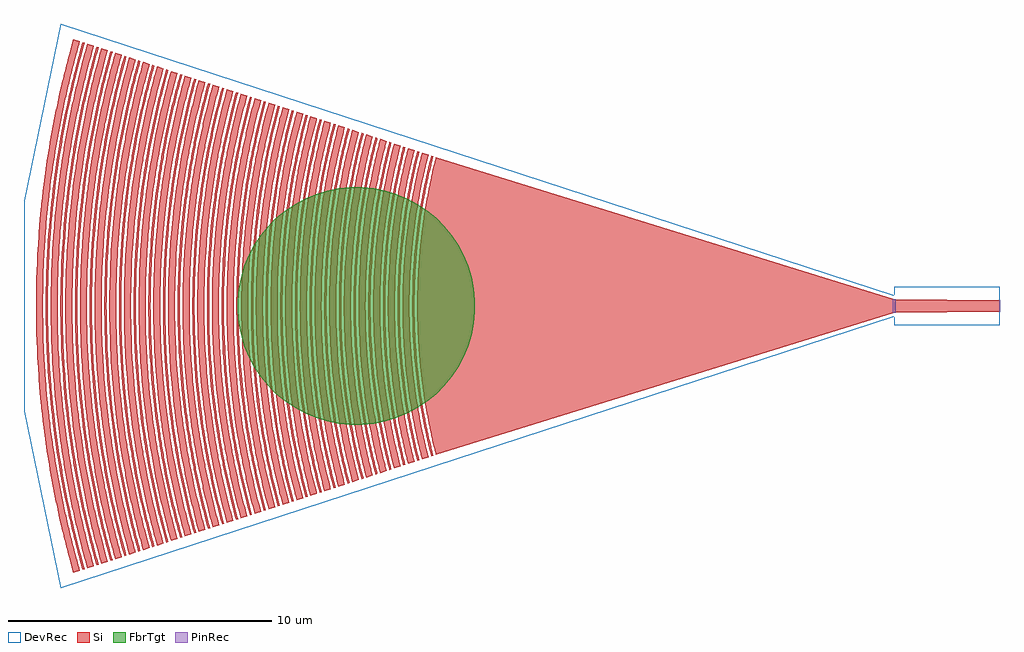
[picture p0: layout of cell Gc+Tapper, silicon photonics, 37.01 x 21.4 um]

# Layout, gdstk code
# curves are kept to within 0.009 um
import gdstk
lib = gdstk.Library(unit=1e-6, precision=1e-09)
def R(c, l, rs):  # rectangles x0, y0, x1, y1
    for r in rs: c.add(gdstk.rectangle(r[:2], r[2:], *l))
def P(c, l, *ps):  # polygons
    for p in ps: c.add(gdstk.Polygon(p, *l))
Si = (1, 0)
PinRec = (1, 10)
DevRec = (68, 0)
FbrTgt = (81, 0)

te1550_subgc_neg31_oxide = lib.new_cell('TE1550_SubGC_neg31_oxide')
P(te1550_subgc_neg31_oxide, Si, [(-17.556,-5.704),(-17.743,-4.914),(-17.881,-4.233),(-18.016,-3.437),(-18.095,-2.866),(-18.165,-2.237),(-18.222,-1.549),(-18.256,-0.918),(-18.274,-0.115),(-18.264,0.689),(-18.233,1.377),(-18.176,2.122),(-18.095,2.866),(-18.016,3.437),(-17.881,4.233),(-17.743,4.914),(-17.556,5.704),(-17.481,5.68),(-17.643,5.006),(-17.784,4.329),(-17.922,3.536),(-18.032,2.74),(-18.104,2.056),(-18.148,1.486),(-18.186,0.686),(-18.196,0.114),(-18.189,-0.572),(-18.165,-1.2),(-18.123,-1.828),(-18.058,-2.512),(-17.948,-3.365),(-17.826,-4.102),(-17.668,-4.893),(-17.481,-5.68)],
  [(-17.906,-5.818),(-18.047,-5.243),(-18.207,-4.492),(-18.342,-3.738),(-18.452,-2.982),(-18.537,-2.224),(-18.601,-1.405),(-18.643,-0.117),(-18.636,0.586),(-18.601,1.405),(-18.537,2.224),(-18.452,2.982),(-18.342,3.738),(-18.207,4.492),(-18.047,5.243),(-17.906,5.818),(-17.659,5.738),(-17.932,4.544),(-18.068,3.801),(-18.188,2.998),(-18.279,2.193),(-18.338,1.443),(-18.373,0.693),(-18.383,0.116),(-18.373,-0.693),(-18.338,-1.443),(-18.279,-2.193),(-18.188,-2.998),(-18.068,-3.801),(-17.932,-4.544),(-17.659,-5.738)],
  [(-18.084,-5.876),(-18.24,-5.237),(-18.4,-4.479),(-18.525,-3.776),(-18.629,-3.071),(-18.717,-2.305),(-18.772,-1.656),(-18.811,-0.946),(-18.83,-0.118),(-18.823,0.592),(-18.791,1.36),(-18.739,2.069),(-18.644,2.953),(-18.544,3.658),(-18.4,4.479),(-18.24,5.237),(-18.084,5.876),(-18.01,5.852),(-18.204,5.041),(-18.368,4.227),(-18.503,3.409),(-18.609,2.589),(-18.713,1.354),(-18.745,0.589),(-18.752,0.118),(-18.745,-0.589),(-18.713,-1.354),(-18.609,-2.589),(-18.503,-3.409),(-18.368,-4.227),(-18.204,-5.041),(-18.01,-5.852)],
  [(-18.435,-5.99),(-18.608,-5.279),(-18.77,-4.506),(-18.906,-3.73),(-19.001,-3.071),(-19.071,-2.47),(-19.135,-1.748),(-19.182,-0.905),(-19.199,-0.121),(-19.19,0.663),(-19.159,1.387),(-19.095,2.23),(-19.001,3.071),(-18.906,3.73),(-18.77,4.506),(-18.608,5.279),(-18.435,5.99),(-18.188,5.91),(-18.358,5.209),(-18.517,4.445),(-18.651,3.679),(-18.744,3.029),(-18.831,2.259),(-18.896,1.427),(-18.939,0.119),(-18.93,-0.654),(-18.896,-1.427),(-18.842,-2.14),(-18.759,-2.911),(-18.651,-3.679),(-18.517,-4.445),(-18.358,-5.209),(-18.188,-5.91)],
  [(-18.613,-6.048),(-18.815,-5.211),(-18.963,-4.49),(-19.099,-3.705),(-19.201,-2.979),(-19.269,-2.373),(-19.338,-1.522),(-19.369,-0.913),(-19.386,-0.122),(-19.377,0.67),(-19.349,1.339),(-19.286,2.191),(-19.201,2.979),(-19.099,3.705),(-18.963,4.49),(-18.815,5.211),(-18.613,6.048),(-18.539,6.024),(-18.713,5.309),(-18.876,4.532),(-19.013,3.751),(-19.131,2.907),(-19.203,2.242),(-19.264,1.455),(-19.291,0.91),(-19.308,0.121),(-19.299,-0.667),(-19.271,-1.334),(-19.239,-1.819),(-19.166,-2.605),(-19.076,-3.329),(-18.91,-4.352),(-18.753,-5.13),(-18.539,-6.024)],
  [(-18.964,-6.162),(-19.262,-4.881),(-19.411,-4.083),(-19.533,-3.283),(-19.629,-2.48),(-19.689,-1.799),(-19.735,-0.993),(-19.755,-0.124),(-19.749,0.559),(-19.717,1.365),(-19.653,2.232),(-19.573,2.974),(-19.461,3.776),(-19.334,4.513),(-19.143,5.431),(-18.964,6.162),(-18.717,6.081),(-18.879,5.421),(-19.046,4.636),(-19.206,3.726),(-19.301,3.057),(-19.43,1.775),(-19.48,0.857),(-19.495,0.122),(-19.486,-0.674),(-19.454,-1.408),(-19.389,-2.264),(-19.301,-3.057),(-19.206,-3.726),(-19.046,-4.636),(-18.879,-5.421),(-18.717,-6.081)],
  [(-19.142,-6.22),(-19.337,-5.421),(-19.48,-4.742),(-19.625,-3.936),(-19.726,-3.251),(-19.808,-2.566),(-19.884,-1.691),(-19.924,-0.94),(-19.942,-0.125),(-19.934,0.626),(-19.9,1.44),(-19.833,2.316),(-19.758,3.002),(-19.635,3.874),(-19.516,4.556),(-19.337,5.421),(-19.142,6.22),(-19.068,6.195),(-19.289,5.277),(-19.44,4.538),(-19.587,3.673),(-19.696,2.866),(-19.772,2.12),(-19.822,1.435),(-19.853,0.749),(-19.864,0.125),(-19.853,-0.749),(-19.822,-1.435),(-19.772,-2.12),(-19.696,-2.866),(-19.587,-3.673),(-19.44,-4.538),(-19.289,-5.277),(-19.068,-6.195)],
  [(-19.493,-6.334),(-19.678,-5.583),(-19.839,-4.829),(-19.997,-3.945),(-20.107,-3.185),(-20.187,-2.486),(-20.256,-1.658),(-20.293,-0.957),(-20.311,-0.128),(-20.303,0.638),(-20.268,1.467),(-20.211,2.231),(-20.107,3.185),(-19.997,3.945),(-19.839,4.829),(-19.678,5.583),(-19.493,6.334),(-19.246,6.253),(-19.399,5.636),(-19.574,4.829),(-19.742,3.895),(-19.842,3.207),(-19.929,2.454),(-19.997,1.637),(-20.033,0.945),(-20.051,0.126),(-20.043,-0.63),(-20.005,-1.511),(-19.947,-2.266),(-19.866,-3.019),(-19.742,-3.895),(-19.622,-4.581),(-19.483,-5.264),(-19.246,-6.253)],
  [(-19.671,-6.391),(-19.843,-5.697),(-20.008,-4.937),(-20.149,-4.173),(-20.283,-3.278),(-20.379,-2.444),(-20.438,-1.738),(-20.482,-0.901),(-20.498,-0.129),(-20.482,0.901),(-20.438,1.738),(-20.379,2.444),(-20.283,3.278),(-20.149,4.173),(-20.008,4.937),(-19.843,5.697),(-19.671,6.391),(-19.597,6.367),(-19.797,5.55),(-20.005,4.538),(-20.153,3.648),(-20.246,2.946),(-20.325,2.179),(-20.373,1.539),(-20.404,0.898),(-20.42,0.128),(-20.412,-0.641),(-20.384,-1.347),(-20.336,-2.051),(-20.261,-2.819),(-20.153,-3.648),(-20.017,-4.474),(-19.825,-5.424),(-19.597,-6.367)],
  [(-20.022,-6.505),(-20.242,-5.606),(-20.392,-4.896),(-20.532,-4.118),(-20.656,-3.272),(-20.745,-2.488),(-20.81,-1.704),(-20.853,-0.852),(-20.867,-0.131),(-20.853,0.852),(-20.81,1.704),(-20.745,2.488),(-20.656,3.272),(-20.532,4.118),(-20.392,4.896),(-20.242,5.606),(-20.022,6.505),(-19.774,6.425),(-19.948,5.727),(-20.139,4.835),(-20.277,4.066),(-20.382,3.36),(-20.474,2.586),(-20.542,1.812),(-20.586,1.036),(-20.607,0.129),(-20.599,-0.647),(-20.567,-1.424),(-20.511,-2.199),(-20.399,-3.231),(-20.277,-4.066),(-20.139,-4.835),(-19.948,-5.727),(-19.774,-6.425)],
  [(-20.199,-6.563),(-20.437,-5.591),(-20.599,-4.809),(-20.726,-4.089),(-20.832,-3.367),(-20.931,-2.511),(-20.992,-1.785),(-21.04,-0.86),(-21.054,-0.132),(-21.044,0.728),(-21.001,1.653),(-20.931,2.511),(-20.849,3.235),(-20.726,4.089),(-20.599,4.809),(-20.437,5.591),(-20.199,6.563),(-20.125,6.539),(-20.347,5.635),(-20.523,4.791),(-20.67,3.943),(-20.804,2.961),(-20.878,2.239),(-20.923,1.647),(-20.962,0.857),(-20.976,0.132),(-20.966,-0.725),(-20.935,-1.449),(-20.878,-2.239),(-20.804,-2.961),(-20.67,-3.943),(-20.523,-4.791),(-20.347,-5.635),(-20.125,-6.539)],
  [(-20.55,-6.677),(-20.732,-5.953),(-20.906,-5.158),(-21.066,-4.293),(-21.205,-3.359),(-21.304,-2.488),(-21.355,-1.883),(-21.401,-1.077),(-21.423,-0.135),(-21.416,0.606),(-21.373,1.615),(-21.304,2.488),(-21.205,3.359),(-21.066,4.293),(-20.906,5.158),(-20.732,5.953),(-20.55,6.677),(-20.303,6.597),(-20.542,5.62),(-20.705,4.833),(-20.822,4.176),(-20.957,3.252),(-21.052,2.391),(-21.105,1.728),(-21.144,0.997),(-21.163,0.133),(-21.151,-0.798),(-21.105,-1.728),(-21.052,-2.391),(-20.957,-3.252),(-20.822,-4.176),(-20.705,-4.833),(-20.542,-5.62),(-20.303,-6.597)],
  [(-20.728,-6.735),(-20.912,-6.004),(-21.101,-5.136),(-21.249,-4.331),(-21.372,-3.523),(-21.483,-2.577),(-21.546,-1.832),(-21.593,-0.95),(-21.61,-0.136),(-21.593,0.95),(-21.555,1.696),(-21.483,2.577),(-21.39,3.388),(-21.249,4.331),(-21.101,5.136),(-20.912,6.004),(-20.728,6.735),(-20.654,6.711),(-20.868,5.85),(-21.025,5.118),(-21.195,4.181),(-21.33,3.241),(-21.412,2.5),(-21.473,1.758),(-21.515,0.947),(-21.532,0.135),(-21.525,-0.609),(-21.497,-1.352),(-21.448,-2.095),(-21.37,-2.904),(-21.237,-3.913),(-21.077,-4.85),(-20.868,-5.85),(-20.654,-6.711)],
  [(-21.079,-6.849),(-21.25,-6.174),(-21.432,-5.359),(-21.599,-4.473),(-21.736,-3.583),(-21.856,-2.552),(-21.923,-1.725),(-21.964,-0.898),(-21.979,-0.138),(-21.964,0.898),(-21.923,1.725),(-21.856,2.552),(-21.772,3.308),(-21.622,4.336),(-21.473,5.155),(-21.298,5.971),(-21.079,6.849),(-20.832,6.769),(-21.048,5.9),(-21.207,5.162),(-21.356,4.353),(-21.47,3.608),(-21.598,2.522),(-21.664,1.705),(-21.702,0.955),(-21.719,0.136),(-21.702,-0.955),(-21.664,-1.705),(-21.598,-2.522),(-21.515,-3.269),(-21.356,-4.353),(-21.207,-5.162),(-21.048,-5.9),(-20.832,-6.769)],
  [(-21.257,-6.907),(-21.494,-5.953),(-21.655,-5.199),(-21.817,-4.304),(-21.93,-3.544),(-22.042,-2.574),(-22.105,-1.81),(-22.146,-1.044),(-22.166,-0.139),(-22.159,0.627),(-22.114,1.67),(-22.042,2.574),(-21.957,3.336),(-21.817,4.304),(-21.655,5.199),(-21.494,5.953),(-21.257,6.907),(-21.183,6.883),(-21.419,5.932),(-21.606,5.044),(-21.773,4.083),(-21.888,3.256),(-21.971,2.495),(-22.036,1.665),(-22.073,0.902),(-22.088,0.139),(-22.081,-0.624),(-22.052,-1.387),(-22.001,-2.149),(-21.905,-3.117),(-21.773,-4.083),(-21.606,-5.044),(-21.419,-5.932),(-21.183,-6.883)],
  [(-21.608,-7.021),(-21.801,-6.259),(-21.985,-5.425),(-22.179,-4.375),(-22.294,-3.603),(-22.415,-2.546),(-22.482,-1.698),(-22.522,-0.849),(-22.535,-0.142),(-22.522,0.849),(-22.482,1.698),(-22.415,2.546),(-22.294,3.603),(-22.179,4.375),(-21.985,5.425),(-21.801,6.259),(-21.608,7.021),(-21.361,6.941),(-21.599,5.982),(-21.761,5.224),(-21.889,4.533),(-22.028,3.631),(-22.129,2.795),(-22.218,1.749),(-22.26,0.91),(-22.275,0.14),(-22.268,-0.63),(-22.227,-1.609),(-22.163,-2.447),(-22.073,-3.283),(-21.957,-4.117),(-21.788,-5.086),(-21.599,-5.982),(-21.361,-6.941)],
  [(-21.786,-7.079),(-21.964,-6.381),(-22.167,-5.469),(-22.302,-4.765),(-22.469,-3.704),(-22.565,-2.923),(-22.649,-1.997),(-22.704,-0.999),(-22.722,-0.143),(-22.713,0.714),(-22.677,1.57),(-22.601,2.567),(-22.488,3.562),(-22.374,4.341),(-22.195,5.329),(-22.03,6.101),(-21.786,7.079),(-21.712,7.055),(-21.922,6.22),(-22.161,5.1),(-22.308,4.256),(-22.447,3.267),(-22.53,2.487),(-22.586,1.778),(-22.626,0.996),(-22.644,0.142),(-22.635,-0.711),(-22.595,-1.635),(-22.53,-2.487),(-22.447,-3.267),(-22.308,-4.256),(-22.161,-5.1),(-21.922,-6.22),(-21.712,-7.055)],
  [(-22.137,-7.193),(-22.369,-6.271),(-22.54,-5.486),(-22.7,-4.627),(-22.843,-3.692),(-22.946,-2.826),(-23.011,-2.102),(-23.067,-1.16),(-23.091,-0.145),(-23.085,0.58),(-23.045,1.595),(-22.981,2.464),(-22.862,3.547),(-22.736,4.411),(-22.54,5.486),(-22.369,6.271),(-22.137,7.193),(-21.89,7.112),(-22.102,6.271),(-22.287,5.425),(-22.481,4.362),(-22.596,3.579),(-22.716,2.508),(-22.777,1.721),(-22.82,0.789),(-22.831,0.143),(-22.82,-0.789),(-22.777,-1.721),(-22.716,-2.508),(-22.596,-3.579),(-22.481,-4.362),(-22.287,-5.425),(-22.102,-6.271),(-21.89,-7.112)],
  [(-22.315,-7.25),(-22.549,-6.321),(-22.736,-5.458),(-22.895,-4.592),(-23.047,-3.576),(-23.139,-2.776),(-23.218,-1.827),(-23.262,-0.951),(-23.278,-0.146),(-23.262,0.951),(-23.218,1.827),(-23.139,2.776),(-23.047,3.576),(-22.895,4.592),(-22.736,5.458),(-22.549,6.321),(-22.315,7.25),(-22.24,7.226),(-22.457,6.372),(-22.646,5.512),(-22.843,4.432),(-22.979,3.492),(-23.076,2.621),(-23.145,1.748),(-23.184,0.947),(-23.2,0.146),(-23.194,-0.583),(-23.158,-1.53),(-23.102,-2.33),(-23.006,-3.274),(-22.899,-4.071),(-22.73,-5.081),(-22.507,-6.157),(-22.24,-7.226)],
  [(-22.666,-7.364),(-22.887,-6.494),(-23.095,-5.545),(-23.27,-4.591),(-23.392,-3.78),(-23.498,-2.893),(-23.581,-1.93),(-23.628,-1.04),(-23.647,-0.149),(-23.633,0.891),(-23.586,1.856),(-23.513,2.745),(-23.421,3.559),(-23.27,4.591),(-23.095,5.545),(-22.887,6.494),(-22.666,7.364),(-22.418,7.284),(-22.654,6.351),(-22.842,5.484),(-22.978,4.758),(-23.145,3.666),(-23.24,2.862),(-23.311,2.056),(-23.371,0.955),(-23.387,0.147),(-23.371,-0.955),(-23.336,-1.689),(-23.24,-2.862),(-23.145,-3.666),(-22.99,-4.686),(-22.842,-5.484),(-22.654,-6.351),(-22.418,-7.284)],
  [(-22.843,-7.422),(-23.067,-6.545),(-23.262,-5.662),(-23.441,-4.701),(-23.556,-3.959),(-23.691,-2.842),(-23.762,-2.02),(-23.815,-1.048),(-23.834,-0.15),(-23.82,0.898),(-23.782,1.721),(-23.713,2.618),(-23.606,3.587),(-23.441,4.701),(-23.277,5.588),(-23.067,6.545),(-22.843,7.422),(-22.769,7.398),(-22.992,6.523),(-23.201,5.57),(-23.389,4.538),(-23.538,3.501),(-23.642,2.535),(-23.704,1.716),(-23.742,0.895),(-23.756,0.149),(-23.742,-0.895),(-23.704,-1.716),(-23.642,-2.535),(-23.565,-3.278),(-23.401,-4.464),(-23.23,-5.423),(-22.992,-6.523),(-22.769,-7.398)],
  [(-23.194,-7.536),(-23.404,-6.72),(-23.605,-5.824),(-23.79,-4.849),(-23.951,-3.793),(-24.065,-2.81),(-24.135,-1.976),(-24.186,-0.988),(-24.203,-0.152),(-24.191,0.836),(-24.15,1.748),(-24.065,2.81),(-23.961,3.718),(-23.79,4.849),(-23.605,5.824),(-23.404,6.72),(-23.194,7.536),(-22.947,7.456),(-23.172,6.574),(-23.368,5.688),(-23.535,4.797),(-23.684,3.827),(-23.807,2.78),(-23.876,1.955),(-23.921,1.128),(-23.943,0.15),(-23.929,-0.903),(-23.886,-1.804),(-23.807,-2.78),(-23.704,-3.678),(-23.56,-4.648),(-23.383,-5.614),(-23.172,-6.574),(-22.947,-7.456)],
  [(-23.372,-7.594),(-23.602,-6.696),(-23.802,-5.793),(-23.96,-4.962),(-24.115,-3.975),(-24.219,-3.137),(-24.316,-2.067),(-24.373,-0.996),(-24.39,-0.153),(-24.373,0.996),(-24.316,2.067),(-24.219,3.137),(-24.115,3.975),(-23.96,4.962),(-23.802,5.793),(-23.602,6.696),(-23.372,7.594),(-23.298,7.57),(-23.562,6.525),(-23.801,5.399),(-23.971,4.417),(-24.088,3.583),(-24.188,2.67),(-24.249,1.908),(-24.295,0.993),(-24.312,0.153),(-24.3,-0.84),(-24.263,-1.68),(-24.195,-2.594),(-24.088,-3.583),(-23.971,-4.417),(-23.801,-5.399),(-23.562,-6.525),(-23.298,-7.57)],
  [(-23.723,-7.708),(-23.957,-6.797),(-24.145,-5.957),(-24.348,-4.883),(-24.479,-4.035),(-24.585,-3.184),(-24.678,-2.176),(-24.736,-1.167),(-24.759,-0.156),(-24.749,0.778),(-24.709,1.71),(-24.625,2.797),(-24.5,3.88),(-24.348,4.883),(-24.145,5.957),(-23.957,6.797),(-23.723,7.708),(-23.476,7.628),(-23.724,6.651),(-23.908,5.819),(-24.093,4.832),(-24.233,3.916),(-24.359,2.844),(-24.43,2),(-24.482,1),(-24.499,0.154),(-24.487,-0.847),(-24.43,-2),(-24.359,-2.844),(-24.233,-3.916),(-24.093,-4.832),(-23.908,-5.819),(-23.724,-6.651),(-23.476,-7.628)],
  [(-23.901,-7.766),(-24.137,-6.848),(-24.358,-5.848),(-24.518,-4.997),(-24.674,-3.987),(-24.779,-3.13),(-24.87,-2.115),(-24.916,-1.332),(-24.946,-0.157),(-24.931,0.94),(-24.891,1.802),(-24.803,2.896),(-24.695,3.832),(-24.531,4.92),(-24.358,5.848),(-24.137,6.848),(-23.901,7.766),(-23.827,7.742),(-24.098,6.674),(-24.313,5.676),(-24.493,4.672),(-24.638,3.665),(-24.733,2.809),(-24.803,1.952),(-24.848,1.094),(-24.868,0.156),(-24.858,-0.781),(-24.818,-1.718),(-24.733,-2.809),(-24.638,-3.665),(-24.493,-4.672),(-24.313,-5.676),(-24.098,-6.674),(-23.827,-7.742)],
  [(-24.252,-7.88),(-24.473,-7.027),(-24.717,-5.934),(-24.893,-4.992),(-25.049,-3.967),(-25.145,-3.177),(-25.232,-2.225),(-25.288,-1.272),(-25.315,-0.159),(-25.3,0.954),(-25.259,1.828),(-25.185,2.78),(-25.07,3.809),(-24.893,4.992),(-24.717,5.934),(-24.473,7.027),(-24.252,7.88),(-24.005,7.8),(-24.26,6.801),(-24.464,5.873),(-24.638,4.941),(-24.782,4.005),(-24.887,3.144),(-24.973,2.202),(-25.025,1.338),(-25.055,0.157),(-25.05,-0.551),(-25.009,-1.652),(-24.919,-2.83),(-24.803,-3.848),(-24.638,-4.941),(-24.464,-5.873),(-24.26,-6.801),(-24.005,-7.8)],
  [(-24.43,-7.938),(-24.709,-6.843),(-24.866,-6.135),(-25.049,-5.187),(-25.234,-3.997),(-25.339,-3.12),(-25.424,-2.162),(-25.478,-1.202),(-25.502,-0.16),(-25.489,0.881),(-25.435,2.002),(-25.339,3.12),(-25.234,3.997),(-25.049,5.187),(-24.866,6.135),(-24.709,6.843),(-24.43,7.938),(-24.356,7.914),(-24.634,6.822),(-24.839,5.881),(-25,5.014),(-25.178,3.826),(-25.278,2.952),(-25.352,2.075),(-25.397,1.278),(-25.424,0.16),(-25.409,-0.958),(-25.377,-1.677),(-25.293,-2.792),(-25.198,-3.667),(-25.052,-4.697),(-24.839,-5.881),(-24.634,-6.822),(-24.356,-7.914)],
  [(-24.781,-8.052),(-24.988,-7.26),(-25.241,-6.144),(-25.424,-5.182),(-25.576,-4.216),(-25.722,-3.003),(-25.803,-2.031),(-25.853,-1.056),(-25.871,-0.163),(-25.853,1.056),(-25.803,2.031),(-25.722,3.003),(-25.609,3.974),(-25.465,4.941),(-25.274,5.984),(-25.064,6.942),(-24.781,8.052),(-24.533,7.971),(-24.738,7.187),(-24.972,6.161),(-25.127,5.368),(-25.308,4.253),(-25.447,3.133),(-25.544,2.01),(-25.593,1.046),(-25.611,0.161),(-25.598,-0.885),(-25.544,-2.01),(-25.479,-2.813),(-25.352,-3.934),(-25.21,-4.891),(-25.021,-5.924),(-24.814,-6.872),(-24.533,-7.971)],
  [(-24.959,-8.11),(-25.187,-7.232),(-25.423,-6.188),(-25.635,-5.057),(-25.772,-4.165),(-25.891,-3.188),(-25.984,-2.127),(-26.03,-1.31),(-26.058,-0.164),(-26.045,0.9),(-25.995,1.964),(-25.891,3.188),(-25.794,4.002),(-25.635,5.057),(-25.423,6.188),(-25.187,7.232),(-24.959,8.11),(-24.884,8.085),(-25.15,7.051),(-25.38,6.009),(-25.572,4.961),(-25.738,3.828),(-25.846,2.853),(-25.917,1.958),(-25.967,0.898),(-25.98,0.163),(-25.967,-0.898),(-25.932,-1.713),(-25.868,-2.609),(-25.768,-3.585),(-25.624,-4.638),(-25.412,-5.848),(-25.207,-6.811),(-24.884,-8.085)],
  [(-25.31,-8.224),(-25.581,-7.171),(-25.815,-6.112),(-26.011,-5.047),(-26.136,-4.224),(-26.274,-3.068),(-26.357,-2.074),(-26.402,-1.245),(-26.427,-0.166),(-26.416,0.83),(-26.368,1.909),(-26.298,2.82),(-26.18,3.894),(-26.011,5.047),(-25.815,6.112),(-25.581,7.171),(-25.31,8.224),(-25.062,8.143),(-25.292,7.262),(-25.512,6.295),(-25.7,5.322),(-25.868,4.264),(-26.016,3.038),(-26.098,2.054),(-26.139,1.315),(-26.167,0.164),(-26.154,-0.904),(-26.123,-1.644),(-26.054,-2.628),(-25.923,-3.856),(-25.769,-4.916),(-25.562,-6.052),(-25.35,-7.021),(-25.062,-8.143)],
  [(-25.487,-8.281),(-25.761,-7.222),(-25.946,-6.402),(-26.152,-5.33),(-26.321,-4.254),(-26.451,-3.173),(-26.532,-2.256),(-26.589,-1.254),(-26.614,-0.167),(-26.598,1.003),(-26.538,2.172),(-26.451,3.173),(-26.321,4.254),(-26.152,5.33),(-25.946,6.402),(-25.761,7.222),(-25.487,8.281),(-25.413,8.257),(-25.686,7.201),(-25.921,6.137),(-26.118,5.067),(-26.288,3.91),(-26.374,3.164),(-26.466,2.083),(-26.511,1.25),(-26.536,0.167),(-26.525,-0.834),(-26.482,-1.833),(-26.406,-2.831),(-26.288,-3.91),(-26.118,-5.067),(-25.921,-6.137),(-25.686,-7.201),(-25.413,-8.257)],
  [(-25.838,-8.395),(-26.076,-7.487),(-26.339,-6.323),(-26.514,-5.404),(-26.685,-4.312),(-26.8,-3.386),(-26.887,-2.456),(-26.954,-1.356),(-26.983,-0.17),(-26.964,1.102),(-26.917,2.033),(-26.843,2.963),(-26.708,4.144),(-26.557,5.152),(-26.356,6.24),(-26.156,7.155),(-25.838,8.395),(-25.591,8.315),(-25.866,7.251),(-26.086,6.263),(-26.259,5.352),(-26.44,4.188),(-26.568,3.102),(-26.658,2.014),(-26.707,1.007),(-26.723,0.168),(-26.707,-1.007),(-26.658,-2.014),(-26.568,-3.102),(-26.44,-4.188),(-26.259,-5.352),(-26.086,-6.263),(-25.866,-7.251),(-25.591,-8.315)],
  [(-26.016,-8.453),(-26.256,-7.539),(-26.503,-6.451),(-26.697,-5.441),(-26.858,-4.427),(-26.976,-3.494),(-27.086,-2.303),(-27.144,-1.28),(-27.17,-0.085),(-27.156,0.939),(-27.098,2.133),(-27.012,3.154),(-26.893,4.173),(-26.726,5.272),(-26.538,6.283),(-26.256,7.539),(-26.016,8.453),(-25.942,8.429),(-26.261,7.184),(-26.479,6.181),(-26.664,5.173),(-26.838,3.992),(-26.943,3.06),(-27.026,2.042),(-27.078,0.936),(-27.092,0.085),(-27.078,-0.936),(-27.026,-2.042),(-26.943,-3.06),(-26.838,-3.992),(-26.664,-5.173),(-26.479,-6.181),(-26.261,-7.184),(-25.942,-8.429)],
  [(-26.367,-8.567),(-26.652,-7.471),(-26.897,-6.368),(-27.088,-5.344),(-27.246,-4.315),(-27.387,-3.111),(-27.466,-2.162),(-27.513,-1.297),(-27.539,-0.087),(-27.525,0.952),(-27.466,2.162),(-27.387,3.111),(-27.246,4.315),(-27.088,5.344),(-26.897,6.368),(-26.652,7.471),(-26.367,8.567),(-26.12,8.487),(-26.381,7.485),(-26.644,6.308),(-26.833,5.294),(-26.989,4.275),(-27.137,2.996),(-27.218,1.97),(-27.265,0.943),(-27.279,0.086),(-27.265,-0.943),(-27.218,-1.97),(-27.137,-2.996),(-26.989,-4.275),(-26.833,-5.294),(-26.644,-6.308),(-26.381,-7.485),(-26.12,-8.487)],
  [(-26.545,-8.625),(-26.832,-7.522),(-27.079,-6.411),(-27.286,-5.294),(-27.442,-4.258),(-27.573,-3.132),(-27.658,-2.089),(-27.712,-0.958),(-27.726,-0.087),(-27.712,0.958),(-27.658,2.089),(-27.573,3.132),(-27.442,4.258),(-27.286,5.294),(-27.079,6.411),(-26.832,7.522),(-26.545,8.625),(-26.471,8.601),(-26.777,7.416),(-27.003,6.393),(-27.195,5.365),(-27.365,4.246),(-27.487,3.209),(-27.586,1.997),(-27.634,0.955),(-27.648,0.087),(-27.634,-0.955),(-27.586,-1.997),(-27.52,-2.863),(-27.42,-3.815),(-27.265,-4.935),(-27.071,-6.051),(-26.817,-7.246),(-26.63,-8.01),(-26.471,-8.601)],
  [(-26.896,-8.739),(-27.145,-7.794),(-27.402,-6.67),(-27.588,-5.713),(-27.783,-4.49),(-27.903,-3.525),(-28.014,-2.293),(-28.075,-1.147),(-28.095,-0.088),(-28.078,1.059),(-28.026,2.117),(-27.948,3.085),(-27.807,4.315),(-27.663,5.277),(-27.438,6.496),(-27.208,7.535),(-26.896,8.739),(-26.649,8.659),(-26.937,7.551),(-27.185,6.436),(-27.393,5.315),(-27.55,4.275),(-27.681,3.144),(-27.761,2.185),(-27.812,1.224),(-27.835,0.087),(-27.821,-0.962),(-27.761,-2.185),(-27.681,-3.144),(-27.55,-4.275),(-27.393,-5.315),(-27.185,-6.436),(-26.937,-7.551),(-26.649,-8.659)],
  [(-27.074,-8.797),(-27.346,-7.759),(-27.602,-6.627),(-27.802,-5.576),(-27.955,-4.608),(-28.098,-3.46),(-28.194,-2.397),(-28.255,-1.332),(-28.282,-0.089),(-28.265,1.066),(-28.218,2.042),(-28.134,3.106),(-28.015,4.167),(-27.832,5.4),(-27.62,6.539),(-27.346,7.759),(-27.074,8.797),(-27,8.773),(-27.292,7.651),(-27.544,6.521),(-27.77,5.297),(-27.949,4.067),(-28.048,3.186),(-28.129,2.214),(-28.184,1.152),(-28.204,0.089),(-28.187,-1.063),(-28.146,-1.948),(-28.073,-2.921),(-27.949,-4.067),(-27.77,-5.297),(-27.544,-6.521),(-27.292,-7.651),(-27,-8.773)],
  [(-27.425,-8.911),(-27.701,-7.859),(-27.979,-6.624),(-28.164,-5.648),(-28.344,-4.489),(-28.474,-3.415),(-28.568,-2.339),(-28.627,-1.26),(-28.651,-0.09),(-28.627,1.26),(-28.568,2.339),(-28.474,3.415),(-28.344,4.489),(-28.164,5.648),(-27.979,6.624),(-27.701,7.859),(-27.425,8.911),(-27.177,8.83),(-27.451,7.788),(-27.708,6.652),(-27.909,5.597),(-28.075,4.537),(-28.206,3.473),(-28.309,2.317),(-28.364,1.338),(-28.391,0.089),(-28.364,-1.338),(-28.309,-2.317),(-28.206,-3.473),(-28.075,-4.537),(-27.909,-5.597),(-27.708,-6.652),(-27.451,-7.788),(-27.177,-8.83)],
  [(-27.603,-8.969),(-27.881,-7.91),(-28.124,-6.845),(-28.347,-5.685),(-28.529,-4.518),(-28.678,-3.257),(-28.761,-2.264),(-28.814,-1.268),(-28.838,-0.091),(-28.826,0.906),(-28.761,2.264),(-28.678,3.257),(-28.529,4.518),(-28.347,5.685),(-28.124,6.845),(-27.881,7.91),(-27.603,8.969),(-27.528,8.944),(-27.806,7.889),(-28.085,6.649),(-28.316,5.402),(-28.476,4.327),(-28.582,3.428),(-28.677,2.348),(-28.736,1.265),(-28.76,0.09),(-28.748,-0.903),(-28.695,-2.077),(-28.609,-3.158),(-28.499,-4.147),(-28.331,-5.312),(-28.121,-6.472),(-27.87,-7.624),(-27.528,-8.944)],
  [(-27.953,-9.083),(-28.258,-7.922),(-28.52,-6.752),(-28.709,-5.757),(-28.893,-4.576),(-29.026,-3.482),(-29.135,-2.201),(-29.186,-1.193),(-29.207,-0.092),(-29.192,1.009),(-29.135,2.201),(-29.026,3.482),(-28.918,4.394),(-28.74,5.576),(-28.52,6.752),(-28.258,7.922),(-27.953,9.083),(-27.706,9.002),(-27.986,7.94),(-28.23,6.871),(-28.454,5.706),(-28.624,4.626),(-28.758,3.541),(-28.863,2.363),(-28.923,1.273),(-28.947,0.091),(-28.935,-0.909),(-28.887,-2),(-28.795,-3.179),(-28.649,-4.445),(-28.485,-5.527),(-28.23,-6.871),(-27.986,-7.94),(-27.706,-9.002)],
  [(-28.131,-9.14),(-28.416,-8.062),(-28.645,-7.068),(-28.86,-5.977),(-29.078,-4.605),(-29.221,-3.412),(-29.315,-2.307),(-29.373,-1.2),(-29.394,-0.092),(-29.373,1.2),(-29.315,2.307),(-29.221,3.412),(-29.078,4.605),(-28.86,5.977),(-28.645,7.068),(-28.416,8.062),(-28.131,9.14),(-28.057,9.116),(-28.363,7.951),(-28.663,6.596),(-28.892,5.323),(-29.061,4.136),(-29.179,3.036),(-29.255,2.025),(-29.301,1.013),(-29.316,0.092),(-29.301,-1.013),(-29.255,-2.025),(-29.179,-3.036),(-29.061,-4.136),(-28.892,-5.323),(-28.663,-6.596),(-28.363,-7.951),(-28.057,-9.116)],
  [(-28.482,-9.254),(-28.771,-8.163),(-29.003,-7.156),(-29.238,-5.959),(-29.416,-4.849),(-29.578,-3.548),(-29.683,-2.336),(-29.738,-1.309),(-29.763,-0.094),(-29.738,1.309),(-29.683,2.336),(-29.597,3.362),(-29.455,4.57),(-29.286,5.682),(-29.042,6.972),(-28.771,8.163),(-28.482,9.254),(-28.235,9.174),(-28.543,8.001),(-28.77,7.003),(-28.983,5.907),(-29.173,4.714),(-29.31,3.609),(-29.424,2.316),(-29.485,1.112),(-29.503,0.093),(-29.485,-1.112),(-29.424,-2.316),(-29.31,-3.609),(-29.173,-4.714),(-28.983,-5.907),(-28.77,-7.003),(-28.543,-8.001),(-28.235,-9.174)],
  [(-28.66,-9.312),(-28.928,-8.306),(-29.224,-7.016),(-29.421,-5.996),(-29.601,-4.879),(-29.733,-3.851),(-29.863,-2.445),(-29.925,-1.317),(-29.95,-0.094),(-29.937,0.941),(-29.882,2.163),(-29.792,3.289),(-29.64,4.599),(-29.437,5.904),(-29.224,7.016),(-28.928,8.306),(-28.66,9.312),(-28.586,9.288),(-28.898,8.101),(-29.148,6.998),(-29.393,5.703),(-29.563,4.587),(-29.696,3.467),(-29.798,2.251),(-29.847,1.314),(-29.872,0.094),(-29.862,-0.845),(-29.798,-2.251),(-29.696,-3.467),(-29.563,-4.587),(-29.393,-5.703),(-29.148,-6.998),(-28.898,-8.101),(-28.586,-9.288)],
  [(-29.011,-9.426),(-29.259,-8.501),(-29.563,-7.196),(-29.799,-5.976),(-29.965,-4.939),(-30.12,-3.709),(-30.237,-2.38),(-30.297,-1.238),(-30.319,-0.095),(-30.306,0.952),(-30.25,2.19),(-30.149,3.424),(-30.017,4.561),(-29.847,5.694),(-29.602,7.008),(-29.351,8.129),(-29.011,9.426),(-28.764,9.346),(-29.078,8.152),(-29.33,7.041),(-29.528,6.018),(-29.735,4.709),(-29.872,3.583),(-29.978,2.359),(-30.034,1.322),(-30.059,0.094),(-30.034,-1.322),(-29.978,-2.359),(-29.872,-3.583),(-29.735,-4.709),(-29.528,-6.018),(-29.33,-7.041),(-29.078,-8.152),(-28.764,-9.346)],
  [(-29.189,-9.484),(-29.554,-8.085),(-29.784,-7.052),(-29.999,-5.918),(-30.163,-4.874),(-30.295,-3.827),(-30.417,-2.49),(-30.484,-1.246),(-30.506,-0.096),(-30.484,1.246),(-30.417,2.49),(-30.295,3.827),(-30.163,4.874),(-29.999,5.918),(-29.784,7.052),(-29.554,8.085),(-29.189,9.484),(-29.115,9.46),(-29.456,8.158),(-29.708,7.034),(-29.97,5.62),(-30.125,4.577),(-30.248,3.532),(-30.346,2.388),(-30.406,1.242),(-30.428,0.096),(-30.406,-1.242),(-30.346,-2.388),(-30.248,-3.532),(-30.125,-4.577),(-29.97,-5.62),(-29.708,-7.034),(-29.456,-8.158),(-29.115,-9.46)],
  [(-29.54,-9.598),(-29.864,-8.372),(-30.143,-7.137),(-30.361,-5.99),(-30.554,-4.741),(-30.702,-3.487),(-30.798,-2.327),(-30.856,-1.164),(-30.875,-0.097),(-30.856,1.164),(-30.798,2.327),(-30.702,3.487),(-30.554,4.741),(-30.361,5.99),(-30.143,7.137),(-29.864,8.372),(-29.54,9.598),(-29.293,9.518),(-29.659,8.114),(-29.89,7.077),(-30.106,5.939),(-30.284,4.796),(-30.424,3.649),(-30.539,2.307),(-30.593,1.25),(-30.615,0.096),(-30.593,-1.25),(-30.539,-2.307),(-30.424,-3.649),(-30.284,-4.796),(-30.106,-5.939),(-29.89,-7.077),(-29.659,-8.114),(-29.293,-9.518)],
  [(-29.718,-9.656),(-29.997,-8.613),(-30.285,-7.371),(-30.493,-6.315),(-30.712,-4.963),(-30.857,-3.8),(-30.964,-2.633),(-31.036,-1.366),(-31.062,-0.098),(-31.046,1.073),(-30.991,2.243),(-30.897,3.411),(-30.752,4.673),(-30.561,5.929),(-30.345,7.084),(-30.044,8.422),(-29.718,9.656),(-29.643,9.632),(-29.969,8.401),(-30.269,7.066),(-30.501,5.818),(-30.7,4.468),(-30.829,3.306),(-30.907,2.335),(-30.965,1.168),(-30.984,0.097),(-30.965,-1.168),(-30.907,-2.335),(-30.829,-3.306),(-30.7,-4.468),(-30.501,-5.818),(-30.269,-7.066),(-29.969,-8.401),(-29.643,-9.632)],
  [(-30.069,-9.77),(-30.423,-8.425),(-30.664,-7.362),(-30.872,-6.292),(-31.09,-4.924),(-31.234,-3.747),(-31.346,-2.467),(-31.408,-1.283),(-31.431,-0.099),(-31.408,1.283),(-31.346,2.467),(-31.234,3.747),(-31.09,4.924),(-30.872,6.292),(-30.664,7.362),(-30.423,8.425),(-30.069,9.77),(-29.821,9.69),(-30.149,8.452),(-30.411,7.301),(-30.668,5.95),(-30.833,4.883),(-30.976,3.716),(-31.093,2.349),(-31.155,1.077),(-31.171,0.098),(-31.155,-1.077),(-31.093,-2.349),(-30.976,-3.716),(-30.833,-4.883),(-30.668,-5.95),(-30.411,-7.301),(-30.149,-8.452),(-29.821,-9.69)],
  [(-30.246,-9.828),(-30.603,-8.475),(-30.866,-7.308),(-31.107,-6.035),(-31.288,-4.855),(-31.43,-3.67),(-31.539,-2.382),(-31.595,-1.291),(-31.618,-0.099),(-31.595,1.291),(-31.539,2.382),(-31.43,3.67),(-31.288,4.855),(-31.107,6.035),(-30.866,7.308),(-30.603,8.475),(-30.246,9.828),(-30.172,9.804),(-30.528,8.455),(-30.77,7.387),(-30.907,6.705),(-31.047,5.922),(-31.211,4.843),(-31.342,3.759),(-31.461,2.377),(-31.517,1.288),(-31.54,0.099),(-31.529,-0.892),(-31.474,-2.179),(-31.391,-3.266),(-31.25,-4.548),(-31.047,-5.922),(-30.83,-7.095),(-30.528,-8.455),(-30.172,-9.804)],
  [(-30.597,-9.942),(-30.886,-8.868),(-31.225,-7.393),(-31.452,-6.205),(-31.625,-5.111),(-31.786,-3.813),(-31.893,-2.611),(-31.96,-1.407),(-31.987,-0.1),(-31.967,1.206),(-31.907,2.41),(-31.786,3.813),(-31.653,4.911),(-31.452,6.205),(-31.225,7.393),(-30.886,8.868),(-30.597,9.942),(-30.35,9.861),(-30.636,8.796),(-30.931,7.529),(-31.18,6.253),(-31.396,4.872),(-31.528,3.782),(-31.641,2.49),(-31.704,1.296),(-31.727,0.1),(-31.704,-1.296),(-31.641,-2.49),(-31.528,-3.782),(-31.396,-4.872),(-31.18,-6.253),(-30.931,-7.529),(-30.636,-8.796),(-30.35,-9.861)],
  [(-30.775,-9.999),(-31.09,-8.821),(-31.344,-7.734),(-31.564,-6.64),(-31.795,-5.241),(-31.95,-4.036),(-32.072,-2.727),(-32.129,-1.819),(-32.154,-1.213),(-32.174,-0.101),(-32.154,1.213),(-32.1,2.323),(-32.012,3.432),(-31.851,4.84),(-31.686,5.941),(-31.428,7.337),(-31.139,8.624),(-30.775,9.999),(-30.701,9.975),(-31.015,8.8),(-31.18,8.11),(-31.352,7.319),(-31.593,6.027),(-31.774,4.828),(-31.915,3.625),(-32.009,2.519),(-32.069,1.411),(-32.096,0.101),(-32.076,-1.21),(-32.009,-2.519),(-31.915,-3.625),(-31.774,-4.828),(-31.593,-6.027),(-31.352,-7.319),(-31.18,-8.11),(-31.015,-8.8),(-30.701,-9.975)],
  [(-31.126,-10.114),(-31.445,-8.922),(-31.724,-7.722),(-31.962,-6.514),(-32.174,-5.199),(-32.338,-3.879),(-32.447,-2.656),(-32.519,-1.329),(-32.543,-0.102),(-32.519,1.329),(-32.447,2.656),(-32.338,3.879),(-32.174,5.199),(-31.962,6.514),(-31.724,7.722),(-31.47,8.822),(-31.126,10.114),(-30.879,10.033),(-31.195,8.851),(-31.471,7.66),(-31.725,6.362),(-31.917,5.158),(-32.08,3.848),(-32.188,2.635),(-32.263,1.217),(-32.283,0.101),(-32.263,-1.217),(-32.202,-2.433),(-32.101,-3.646),(-31.959,-4.856),(-31.776,-6.062),(-31.534,-7.361),(-31.244,-8.653),(-30.879,-10.033)],
  [(-17.378,-5.646),(-17.513,-5.088),(-17.678,-4.303),(-17.788,-3.684),(-17.903,-2.893),(-17.985,-2.157),(-18.043,-1.42),(-18.077,-0.682),(-18.087,-0.114),(-18.08,0.568),(-18.05,1.306),(-17.99,2.101),(-17.924,2.724),(-17.815,3.514),(-17.678,4.303),(-17.513,5.088),(-17.378,5.646),(0,0.25),(0,-0.25)])
te1550_subgc_neg31_oxide.add(gdstk.Label('Ref: Yun Wang, Optics Express, 08/2014', (-33,0), layer=10, texttype=0))
te1550_subgc_neg31_oxide.add(gdstk.Label('http://dx.doi.org/10.1364/OE.22.020652', (-33,-2), layer=10, texttype=0))
te1550_subgc_neg31_oxide.add(gdstk.Label('TE 1550 -31 deg', (-33,2), layer=10, texttype=0))

ebeam_gc_te1550 = lib.new_cell('ebeam_gc_te1550')
R(ebeam_gc_te1550, Si, [(-0.001,-0.001,0.001,0.001)])
P(ebeam_gc_te1550, DevRec, [(-31.6,-10.7),(-33,-4),(-33,4),(-31.6,10.7),(0,0.4),(0,-0.4)])
P(ebeam_gc_te1550, FbrTgt, [(-20.621,-4.5),(-21.061,-4.457),(-21.495,-4.37),(-21.918,-4.242),(-22.326,-4.073),(-22.716,-3.864),(-23.084,-3.619),(-23.426,-3.338),(-23.738,-3.026),(-24.019,-2.684),(-24.264,-2.316),(-24.473,-1.926),(-24.642,-1.518),(-24.77,-1.095),(-24.857,-0.661),(-24.9,-0.221),(-24.9,0.221),(-24.857,0.661),(-24.77,1.095),(-24.642,1.518),(-24.473,1.926),(-24.264,2.316),(-24.019,2.684),(-23.738,3.026),(-23.426,3.338),(-23.084,3.619),(-22.716,3.864),(-22.326,4.073),(-21.918,4.242),(-21.495,4.37),(-21.061,4.457),(-20.621,4.5),(-20.179,4.5),(-19.739,4.457),(-19.305,4.37),(-18.882,4.242),(-18.474,4.073),(-18.084,3.864),(-17.716,3.619),(-17.374,3.338),(-17.062,3.026),(-16.781,2.684),(-16.536,2.316),(-16.327,1.926),(-16.158,1.518),(-16.03,1.095),(-15.943,0.661),(-15.9,0.221),(-15.9,-0.221),(-15.943,-0.661),(-16.03,-1.095),(-16.158,-1.518),(-16.327,-1.926),(-16.536,-2.316),(-16.781,-2.684),(-17.062,-3.026),(-17.374,-3.338),(-17.716,-3.619),(-18.084,-3.864),(-18.474,-4.073),(-18.882,-4.242),(-19.305,-4.37),(-19.739,-4.457),(-20.179,-4.5)])
ebeam_gc_te1550.add(gdstk.FlexPath([(-0.05,0),(0.05,0)], 0.5, ends="flush", simple_path=True, layer=1, datatype=10))  # PinRec
ebeam_gc_te1550.add(gdstk.Reference(te1550_subgc_neg31_oxide, (0,0)))
ebeam_gc_te1550.add(gdstk.Label('opt1', (0,0), layer=1, texttype=10))
ebeam_gc_te1550.add(gdstk.Label('Component=ebeam_gc_te1550', (-28,-5), layer=68, texttype=0))
ebeam_gc_te1550.add(gdstk.Label('Lumerical_INTERCONNECT_library=Design kits/ebeam', (-29,-7), layer=68, texttype=0))

ebeam_taper_te1550 = lib.new_cell('ebeam_taper_te1550')
P(ebeam_taper_te1550, Si, [(0,-0.25),(0,0.25),(4,0.225),(4,-0.225)])
R(ebeam_taper_te1550, DevRec, [(0,-0.725,4,0.725)])
ebeam_taper_te1550.add(gdstk.FlexPath([(0.01,0),(-0.01,0)], 0.5, ends="flush", simple_path=True, layer=1, datatype=10))  # PinRec
ebeam_taper_te1550.add(gdstk.FlexPath([(3.99,0),(4.01,0)], 0.45, ends="flush", simple_path=True, layer=1, datatype=10))  # PinRec
ebeam_taper_te1550.add(gdstk.Label('pin1', (0,0), layer=1, texttype=10))
ebeam_taper_te1550.add(gdstk.Label('pin2', (4,0), layer=1, texttype=10))
ebeam_taper_te1550.add(gdstk.Label('Lumerical_INTERCONNECT_library=Design kits/ebeam', (0.05,0), layer=68, texttype=0))
ebeam_taper_te1550.add(gdstk.Label('Component=ebeam_taper_te1550', (0.4,0.125), layer=68, texttype=0))
ebeam_taper_te1550.add(gdstk.Label('Spice_param:wg_width1=0.500u wg_width2=0.450u wg_length=4.000u', (0.4,0.25), layer=68, texttype=0))

gc_tapper = lib.new_cell('Gc+Tapper')
gc_tapper.add(gdstk.Reference(ebeam_gc_te1550, (3.576,1.454)))
gc_tapper.add(gdstk.Reference(ebeam_taper_te1550, (3.576,1.454)))

lib.write_gds('Gc_Tapper.gds')
